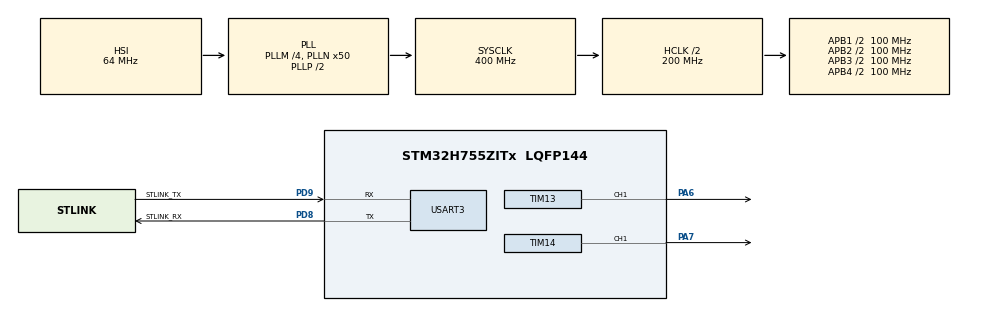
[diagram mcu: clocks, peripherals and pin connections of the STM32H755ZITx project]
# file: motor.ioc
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CORTEX_M7.default_mode_Activation=1
CortexM4.IPs=BDMA,CORTEX_M4\:I,DMA,FATFS_M4\:I,FREERTOS_M4\:I,GPIO,IWDG2\:I,MDMA,NVIC2\:I,OPENAMP_M4\:I,PDM2PCM_M4\:I,PWR,RCC,RESMGR_UTILITY,SYS_M4\:I,USB_DEVICE_M4\:I,USB_HOST_M4\:I,VREFBUF,WWDG2\:I
CortexM7.IPs=BDMA\:I,CORTEX_M7\:I,DMA\:I,FATFS_M7\:I,FREERTOS_M7\:I,GPIO\:I,IWDG1\:I,MDMA\:I,NVIC1\:I,OPENAMP_M7\:I,PDM2PCM_M7\:I,PWR\:I,RCC\:I,RESMGR_UTILITY\:I,SYS\:I,USB_DEVICE_M7\:I,USB_HOST_M7\:I,VREFBUF\:I,WWDG1\:I,MEMORYMAP\:I,TIM13\:I,TIM14\:I,USART3\:I
Mcu.Family=STM32H7
Mcu.Name=STM32H755ZITx
Mcu.Package=LQFP144
NVIC1.PriorityGroup=NVIC_PRIORITYGROUP_4
NVIC2.PriorityGroup=NVIC_PRIORITYGROUP_4
PA6.PinAttribute=CortexM7
PA6.Signal=S_TIM13_CH1
PA7.PinAttribute=CortexM7
PA7.Signal=S_TIM14_CH1
PC14-OSC32_IN\ (OSC32_IN).Mode=LSE-External-Oscillator
PC14-OSC32_IN\ (OSC32_IN).PinAttribute=Free
PC14-OSC32_IN\ (OSC32_IN).Signal=RCC_OSC32_IN
PC15-OSC32_OUT\ (OSC32_OUT).Mode=LSE-External-Oscillator
PC15-OSC32_OUT\ (OSC32_OUT).PinAttribute=Free
PC15-OSC32_OUT\ (OSC32_OUT).Signal=RCC_OSC32_OUT
PD8.GPIO_Label=STLINK_RX
PD8.Mode=Asynchronous
PD8.PinAttribute=CortexM7
PD8.Signal=USART3_TX
PD9.GPIO_Label=STLINK_TX
PD9.Mode=Asynchronous
PD9.PinAttribute=CortexM7
PD9.Signal=USART3_RX
PH0-OSC_IN\ (PH0).Mode=HSE-External-Clock-Source
PH0-OSC_IN\ (PH0).PinAttribute=Free
PH0-OSC_IN\ (PH0).Signal=RCC_OSC_IN
ProjectManager.HeapSize=M4-0x200,M7-0x200
ProjectManager.StackSize=M4-0x400,M7-0x400
ProjectManager.TargetToolchain=STM32CubeIDE
RCC.ADCFreq_Value=129000000
RCC.APB1Freq_Value=100000000
RCC.APB2Freq_Value=100000000
RCC.APB3Freq_Value=100000000
RCC.APB4Freq_Value=100000000
RCC.CortexFreq_Value=400000000
RCC.D1PPRE=RCC_APB3_DIV2
RCC.D2PPRE1=RCC_APB1_DIV2
RCC.D2PPRE2=RCC_APB2_DIV2
RCC.D3PPRE=RCC_APB4_DIV2
RCC.DIVM1=4
RCC.DIVN1=50
RCC.HCLKFreq_Value=200000000
RCC.HPRE=RCC_HCLK_DIV2
RCC.HSE_VALUE=8000000
RCC.PLL2FRACN=0
RCC.PLL3FRACN=0
RCC.PLLFRACN=0
RCC.SYSCLKFreq_VALUE=400000000
RCC.SYSCLKSource=RCC_SYSCLKSOURCE_PLLCLK
RCC.USBFreq_Value=400000000
SH.S_TIM13_CH1.0=TIM13_CH1,PWM Generation1 CH1
SH.S_TIM14_CH1.0=TIM14_CH1,PWM Generation1 CH1
SYS.userName=SYS_M7
TIM13.AutoReloadPreload=TIM_AUTORELOAD_PRELOAD_ENABLE
TIM13.Channel=TIM_CHANNEL_1
TIM13.Period=19999
TIM13.Prescaler=99
TIM13.Pulse=1500
TIM14.AutoReloadPreload=TIM_AUTORELOAD_PRELOAD_ENABLE
TIM14.Channel=TIM_CHANNEL_1
TIM14.Period=19999
TIM14.Prescaler=99
TIM14.Pulse=1500
USART3.VirtualMode-Asynchronous=VM_ASYNC
VP_MEMORYMAP_VS_MEMORYMAP.Mode=CurAppReg
VP_SYS_M4_VS_Systick.Mode=SysTick
VP_TIM13_VS_ClockSourceINT.Mode=Enable_Timer
VP_TIM14_VS_ClockSourceINT.Mode=Enable_Timer
board=custom

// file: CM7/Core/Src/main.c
/* USER CODE BEGIN Header */
/**
  ******************************************************************************
  * @file           : main.c
  * @brief          : Main program body
  ******************************************************************************
  * @attention
  *
  * Copyright (c) 2025 STMicroelectronics.
  * All rights reserved.
  *
  * This software is licensed under terms that can be found in the LICENSE file
  * in the root directory of this software component.
  * If no LICENSE file comes with this software, it is provided AS-IS.
  *
  ******************************************************************************
  */
/* USER CODE END Header */
#include "main.h"

/* USER CODE BEGIN PD */

#ifndef HSEM_ID_0
#define HSEM_ID_0 (0U) /* HW semaphore 0*/
#endif

/* USER CODE END PD */

TIM_HandleTypeDef htim13;
TIM_HandleTypeDef htim14;

UART_HandleTypeDef huart3;

void SystemClock_Config(void);
static void MPU_Config(void);
static void MX_GPIO_Init(void);
static void MX_TIM13_Init(void);
static void MX_TIM14_Init(void);
static void MX_USART3_UART_Init(void);

/* USER CODE BEGIN 0 */

// Control de dirección (servo) - GIRO
// PIN: TIM13_CH1 (normalmente PA6 o PF8)
void Turning_SetAngle(int16_t angle)
{
  if (angle > 90) angle = 90;
  if (angle < -90) angle = -90;

  // Mapear ángulo a ancho de pulso (1000µs a 2000µs)
  uint16_t pulseWidth = 1500 + (angle * 500) / 90;
  __HAL_TIM_SET_COMPARE(&htim13, TIM_CHANNEL_1, pulseWidth);
}

// Control de velocidad ESC - ADELANTE/ATRÁS
// PIN: PA7 (TIM14_CH1)
// speed: -100 (máxima reversa) a +100 (máxima adelante), 0 = neutral
void setEscSpeed(int8_t speed)
{
    uint16_t pulseWidth;

    if (speed > 100) speed = 100;
    if (speed < -100) speed = -100;

    pulseWidth = 1500 + (speed * 5);

    if (pulseWidth < 1000) pulseWidth = 1000;
    if (pulseWidth > 2000) pulseWidth = 2000;

    __HAL_TIM_SET_COMPARE(&htim14, TIM_CHANNEL_1, pulseWidth);
}

// Detener motor (neutral) - PA7
void stopCarEsc(void)
{
    __HAL_TIM_SET_COMPARE(&htim14, TIM_CHANNEL_1, 1500);
}

// Función para movimiento suave adelante - PA7
void moveForward(uint8_t speed)
{
    if (speed > 100) speed = 100;
    setEscSpeed(speed);
}

// Función para movimiento suave atrás - PA7
void moveBackward(uint8_t speed)
{
    if (speed > 100) speed = 100;
    setEscSpeed(-speed);
}

// Función para giro suave - TIM13_CH1
void turn(int16_t angle)
{
    Turning_SetAngle(angle);
}

// Parada completa - Ambos pines
void stopCar(void)
{
    stopCarEsc();      // PA7 - Motor neutral
    Turning_SetAngle(0); // TIM13_CH1 - Dirección centrada
}

/* USER CODE END 0 */

int main(void)
{
/* USER CODE BEGIN Boot_Mode_Sequence_0 */
  int32_t timeout;
/* USER CODE END Boot_Mode_Sequence_0 */

  /* MPU Configuration--------------------------------------------------------*/
  MPU_Config();

/* USER CODE BEGIN Boot_Mode_Sequence_1 */
  /* Wait until CPU2 boots and enters in stop mode or timeout*/
  timeout = 0xFFFF;
  while((__HAL_RCC_GET_FLAG(RCC_FLAG_D2CKRDY) != RESET) && (timeout-- > 0));
  if ( timeout < 0 )
  {
  Error_Handler();
  }
/* USER CODE END Boot_Mode_Sequence_1 */
  /* MCU Configuration--------------------------------------------------------*/

  /* Reset of all peripherals, Initializes the Flash interface and the Systick. */
  HAL_Init();

  /* Configure the system clock */
  SystemClock_Config();
/* USER CODE BEGIN Boot_Mode_Sequence_2 */
/* When system initialization is finished, Cortex-M7 will release Cortex-M4 by means of
HSEM notification */
__HAL_RCC_HSEM_CLK_ENABLE();
/*Take HSEM */
HAL_HSEM_FastTake(HSEM_ID_0);
HAL_HSEM_Release(HSEM_ID_0,0);
/* wait until CPU2 wakes up from stop mode */
timeout = 0xFFFF;
while((__HAL_RCC_GET_FLAG(RCC_FLAG_D2CKRDY) == RESET) && (timeout-- > 0));
if ( timeout < 0 )
{
Error_Handler();
}
/* USER CODE END Boot_Mode_Sequence_2 */

  /* Initialize all configured peripherals */
  MX_GPIO_Init();
  MX_TIM13_Init();
  MX_TIM14_Init();
  MX_USART3_UART_Init();
  /* USER CODE BEGIN 2 */

  // Inicializar PWM para dirección (TIM13) - GIRO
  // PIN: TIM13_CH1 (verificar en tu placa, normalmente PA6 o PF8)
  HAL_TIM_PWM_Start(&htim13, TIM_CHANNEL_1);
  Turning_SetAngle(0); // Dirección centrada

  // Inicializar PWM para ESC (TIM14) - ADELANTE/ATRÁS
  // PIN: PA7 (TIM14_CH1) - CONTROL DE VELOCIDAD
  HAL_TIM_PWM_Start(&htim14, TIM_CHANNEL_1);

  // Delay crítico para inicialización del ESC
  stopCarEsc(); // Neutral
  HAL_Delay(3000); // Esperar inicialización del ESC

  /* USER CODE END 2 */

  /* Infinite loop */
  /* USER CODE BEGIN WHILE */
  while (1)
  {

    moveForward(50);
    HAL_Delay(3000);

    moveForward(30);
    HAL_Delay(2000);

    // Marcha atrás
    moveBackward(40);
    HAL_Delay(2000);

    // Parada completa
    stopCar();
    HAL_Delay(2000);

    // Avance rápido recto
    moveForward(80);
    HAL_Delay(2000);

    // Frenado progresivo
    moveForward(60);
    HAL_Delay(1000);
    moveForward(40);
    HAL_Delay(1000);
    moveForward(20);
    HAL_Delay(1000);

    // Parada final
    stopCar();
    HAL_Delay(3000);
  }
  /* USER CODE END WHILE */

}

void SystemClock_Config(void)
{
  RCC_OscInitTypeDef RCC_OscInitStruct = {0};
  RCC_ClkInitTypeDef RCC_ClkInitStruct = {0};

  /** Supply configuration update enable
  */
  HAL_PWREx_ConfigSupply(PWR_DIRECT_SMPS_SUPPLY);

  /** Configure the main internal regulator output voltage
  */
  __HAL_PWR_VOLTAGESCALING_CONFIG(PWR_REGULATOR_VOLTAGE_SCALE1);

  while(!__HAL_PWR_GET_FLAG(PWR_FLAG_VOSRDY)) {}

  /** Initializes the RCC Oscillators according to the specified parameters
  * in the RCC_OscInitTypeDef structure.
  */
  RCC_OscInitStruct.OscillatorType = RCC_OSCILLATORTYPE_HSI;
  RCC_OscInitStruct.HSIState = RCC_HSI_DIV1;
  RCC_OscInitStruct.HSICalibrationValue = RCC_HSICALIBRATION_DEFAULT;
  RCC_OscInitStruct.PLL.PLLState = RCC_PLL_ON;
  RCC_OscInitStruct.PLL.PLLSource = RCC_PLLSOURCE_HSI;
  RCC_OscInitStruct.PLL.PLLM = 4;
  RCC_OscInitStruct.PLL.PLLN = 50;
  RCC_OscInitStruct.PLL.PLLP = 2;
  RCC_OscInitStruct.PLL.PLLQ = 2;
  RCC_OscInitStruct.PLL.PLLR = 2;
  RCC_OscInitStruct.PLL.PLLRGE = RCC_PLL1VCIRANGE_3;
  RCC_OscInitStruct.PLL.PLLVCOSEL = RCC_PLL1VCOWIDE;
  RCC_OscInitStruct.PLL.PLLFRACN = 0;
  if (HAL_RCC_OscConfig(&RCC_OscInitStruct) != HAL_OK)
  {
    Error_Handler();
  }

  /** Initializes the CPU, AHB and APB buses clocks
  */
  RCC_ClkInitStruct.ClockType = RCC_CLOCKTYPE_HCLK|RCC_CLOCKTYPE_SYSCLK
                              |RCC_CLOCKTYPE_PCLK1|RCC_CLOCKTYPE_PCLK2
                              |RCC_CLOCKTYPE_D3PCLK1|RCC_CLOCKTYPE_D1PCLK1;
  RCC_ClkInitStruct.SYSCLKSource = RCC_SYSCLKSOURCE_PLLCLK;
  RCC_ClkInitStruct.SYSCLKDivider = RCC_SYSCLK_DIV1;
  RCC_ClkInitStruct.AHBCLKDivider = RCC_HCLK_DIV2;
  RCC_ClkInitStruct.APB3CLKDivider = RCC_APB3_DIV2;
  RCC_ClkInitStruct.APB1CLKDivider = RCC_APB1_DIV2;
  RCC_ClkInitStruct.APB2CLKDivider = RCC_APB2_DIV2;
  RCC_ClkInitStruct.APB4CLKDivider = RCC_APB4_DIV2;

  if (HAL_RCC_ClockConfig(&RCC_ClkInitStruct, FLASH_LATENCY_2) != HAL_OK)
  {
    Error_Handler();
  }
}

static void MX_TIM13_Init(void)
{

  TIM_OC_InitTypeDef sConfigOC = {0};

  htim13.Instance = TIM13;
  htim13.Init.Prescaler = 99;
  htim13.Init.CounterMode = TIM_COUNTERMODE_UP;
  htim13.Init.Period = 19999;
  htim13.Init.ClockDivision = TIM_CLOCKDIVISION_DIV1;
  htim13.Init.AutoReloadPreload = TIM_AUTORELOAD_PRELOAD_ENABLE;
  if (HAL_TIM_Base_Init(&htim13) != HAL_OK)
  {
    Error_Handler();
  }
  if (HAL_TIM_PWM_Init(&htim13) != HAL_OK)
  {
    Error_Handler();
  }
  sConfigOC.OCMode = TIM_OCMODE_PWM1;
  sConfigOC.Pulse = 1500;
  sConfigOC.OCPolarity = TIM_OCPOLARITY_HIGH;
  sConfigOC.OCFastMode = TIM_OCFAST_DISABLE;
  if (HAL_TIM_PWM_ConfigChannel(&htim13, &sConfigOC, TIM_CHANNEL_1) != HAL_OK)
  {
    Error_Handler();
  }
  HAL_TIM_MspPostInit(&htim13);

}

static void MX_TIM14_Init(void)
{

  TIM_OC_InitTypeDef sConfigOC = {0};

  htim14.Instance = TIM14;
  htim14.Init.Prescaler = 99;
  htim14.Init.CounterMode = TIM_COUNTERMODE_UP;
  htim14.Init.Period = 19999;
  htim14.Init.ClockDivision = TIM_CLOCKDIVISION_DIV1;
  htim14.Init.AutoReloadPreload = TIM_AUTORELOAD_PRELOAD_ENABLE;
  if (HAL_TIM_Base_Init(&htim14) != HAL_OK)
  {
    Error_Handler();
  }
  if (HAL_TIM_PWM_Init(&htim14) != HAL_OK)
  {
    Error_Handler();
  }
  sConfigOC.OCMode = TIM_OCMODE_PWM1;
  sConfigOC.Pulse = 1500;
  sConfigOC.OCPolarity = TIM_OCPOLARITY_HIGH;
  sConfigOC.OCFastMode = TIM_OCFAST_DISABLE;
  if (HAL_TIM_PWM_ConfigChannel(&htim14, &sConfigOC, TIM_CHANNEL_1) != HAL_OK)
  {
    Error_Handler();
  }
  HAL_TIM_MspPostInit(&htim14);

}

static void MX_USART3_UART_Init(void)
{

  huart3.Instance = USART3;
  huart3.Init.BaudRate = 115200;
  huart3.Init.WordLength = UART_WORDLENGTH_8B;
  huart3.Init.StopBits = UART_STOPBITS_1;
  huart3.Init.Parity = UART_PARITY_NONE;
  huart3.Init.Mode = UART_MODE_TX_RX;
  huart3.Init.HwFlowCtl = UART_HWCONTROL_NONE;
  huart3.Init.OverSampling = UART_OVERSAMPLING_16;
  huart3.Init.OneBitSampling = UART_ONE_BIT_SAMPLE_DISABLE;
  huart3.Init.ClockPrescaler = UART_PRESCALER_DIV1;
  huart3.AdvancedInit.AdvFeatureInit = UART_ADVFEATURE_NO_INIT;
  if (HAL_UART_Init(&huart3) != HAL_OK)
  {
    Error_Handler();
  }
  if (HAL_UARTEx_SetTxFifoThreshold(&huart3, UART_TXFIFO_THRESHOLD_1_8) != HAL_OK)
  {
    Error_Handler();
  }
  if (HAL_UARTEx_SetRxFifoThreshold(&huart3, UART_RXFIFO_THRESHOLD_1_8) != HAL_OK)
  {
    Error_Handler();
  }
  if (HAL_UARTEx_DisableFifoMode(&huart3) != HAL_OK)
  {
    Error_Handler();
  }

}

static void MX_GPIO_Init(void)
{

  /* GPIO Ports Clock Enable */
  __HAL_RCC_GPIOA_CLK_ENABLE();
  __HAL_RCC_GPIOD_CLK_ENABLE();

}

 /* MPU Configuration */

void MPU_Config(void)
{
  MPU_Region_InitTypeDef MPU_InitStruct = {0};

  /* Disables the MPU */
  HAL_MPU_Disable();

  /** Initializes and configures the Region and the memory to be protected
  */
  MPU_InitStruct.Enable = MPU_REGION_ENABLE;
  MPU_InitStruct.Number = MPU_REGION_NUMBER0;
  MPU_InitStruct.BaseAddress = 0x0;
  MPU_InitStruct.Size = MPU_REGION_SIZE_4GB;
  MPU_InitStruct.SubRegionDisable = 0x87;
  MPU_InitStruct.TypeExtField = MPU_TEX_LEVEL0;
  MPU_InitStruct.AccessPermission = MPU_REGION_NO_ACCESS;
  MPU_InitStruct.DisableExec = MPU_INSTRUCTION_ACCESS_DISABLE;
  MPU_InitStruct.IsShareable = MPU_ACCESS_SHAREABLE;
  MPU_InitStruct.IsCacheable = MPU_ACCESS_NOT_CACHEABLE;
  MPU_InitStruct.IsBufferable = MPU_ACCESS_NOT_BUFFERABLE;

  HAL_MPU_ConfigRegion(&MPU_InitStruct);
  /* Enables the MPU */
  HAL_MPU_Enable(MPU_PRIVILEGED_DEFAULT);

}

void Error_Handler(void)
{
  __disable_irq();
  while (1)
  {
  }
}
